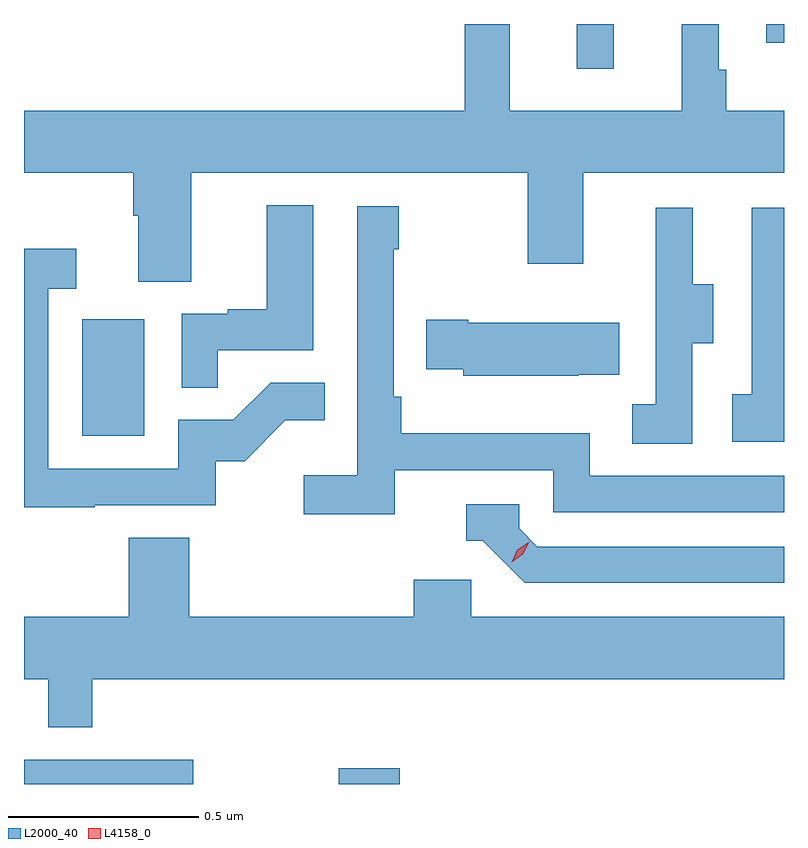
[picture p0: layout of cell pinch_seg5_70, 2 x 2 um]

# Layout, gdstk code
import gdstk
lib = gdstk.Library(unit=1e-6, precision=1e-09)
def R(c, l, rs):  # rectangles x0, y0, x1, y1
    for r in rs: c.add(gdstk.rectangle(r[:2], r[2:], *l))
def P(c, l, *ps):  # polygons
    for p in ps: c.add(gdstk.Polygon(p, *l))
L2000_40 = (2000, 40)
L4158_0 = (4158, 0)

pinch_seg5_70 = lib.new_cell('pinch_seg5_70')
R(pinch_seg5_70, L2000_40, [(1076.477,895.112,1076.923,895.176), (1077.305,895.112,1077.466,895.153), (1076.63,896.028,1076.794,896.335), (1077.932,896.994,1078.029,897.112), (1078.43,897.063,1078.477,897.112)])
P(pinch_seg5_70, L2000_40, [(1076.917,896.72),(1077.802,896.72),(1077.802,896.481),(1077.949,896.481),(1077.949,896.72),(1078.477,896.72),(1078.477,896.884),(1078.325,896.884),(1078.325,896.991),(1078.305,896.991),(1078.305,897.112),(1078.208,897.112),(1078.208,896.884),(1077.755,896.884),(1077.755,897.112),(1077.637,897.112),(1077.637,896.884),(1076.477,896.884),(1076.477,896.72),(1076.765,896.72),(1076.765,896.608),(1076.777,896.608),(1076.777,896.434),(1076.917,896.434)],
  [(1076.987,896.253),(1077.238,896.253),(1077.238,896.635),(1077.116,896.635),(1077.116,896.362),(1077.013,896.362),(1077.013,896.349),(1076.892,896.349),(1076.892,896.155),(1076.987,896.155)],
  [(1077.452,895.938),(1077.87,895.938),(1077.87,895.827),(1078.477,895.827),(1078.477,895.923),(1077.966,895.923),(1077.966,896.035),(1077.47,896.035),(1077.47,896.131),(1077.45,896.131),(1077.45,896.519),(1077.463,896.519),(1077.463,896.632),(1077.354,896.632),(1077.354,895.924),(1077.213,895.924),(1077.213,895.822),(1077.452,895.822)],
  [(1078.477,896.629),(1078.392,896.629),(1078.392,896.138),(1078.341,896.138),(1078.341,896.013),(1078.477,896.013)],
  [(1078.236,896.272),(1078.291,896.272),(1078.291,896.427),(1078.237,896.427),(1078.237,896.629),(1078.139,896.629),(1078.139,896.415),(1078.14,896.415),(1078.14,896.111),(1078.077,896.111),(1078.077,896.008),(1078.236,896.008)],
  [(1076.663,895.845),(1076.982,895.845),(1076.982,895.962),(1077.058,895.962),(1077.165,896.069),(1077.269,896.069),(1077.269,896.168),(1077.126,896.168),(1077.028,896.07),(1076.883,896.07),(1076.883,895.941),(1076.541,895.941),(1076.541,896.415),(1076.614,896.415),(1076.614,896.521),(1076.477,896.521),(1076.477,895.84),(1076.663,895.84)],
  [(1077.935,896.189),(1078.043,896.189),(1078.043,896.326),(1077.646,896.326),(1077.646,896.334),(1077.535,896.334),(1077.535,896.204),(1077.633,896.204),(1077.633,896.186),(1077.935,896.186)],
  [(1078.477,895.737),(1077.828,895.737),(1077.78,895.785),(1077.78,895.848),(1077.641,895.848),(1077.641,895.752),(1077.684,895.752),(1077.795,895.641),(1078.477,895.641)],
  [(1076.657,895.388),(1078.477,895.388),(1078.477,895.552),(1077.654,895.552),(1077.654,895.65),(1077.503,895.65),(1077.503,895.552),(1076.912,895.552),(1076.912,895.76),(1076.752,895.76),(1076.752,895.552),(1076.477,895.552),(1076.477,895.388),(1076.541,895.388),(1076.541,895.261),(1076.657,895.261)])
P(pinch_seg5_70, L4158_0, [(1077.76,895.696),(1077.76,895.696),(1077.775,895.729),(1077.806,895.749),(1077.806,895.749),(1077.806,895.749),(1077.79,895.716),(1077.76,895.696)])

lib.write_gds('pinch_seg5_70.gds')
